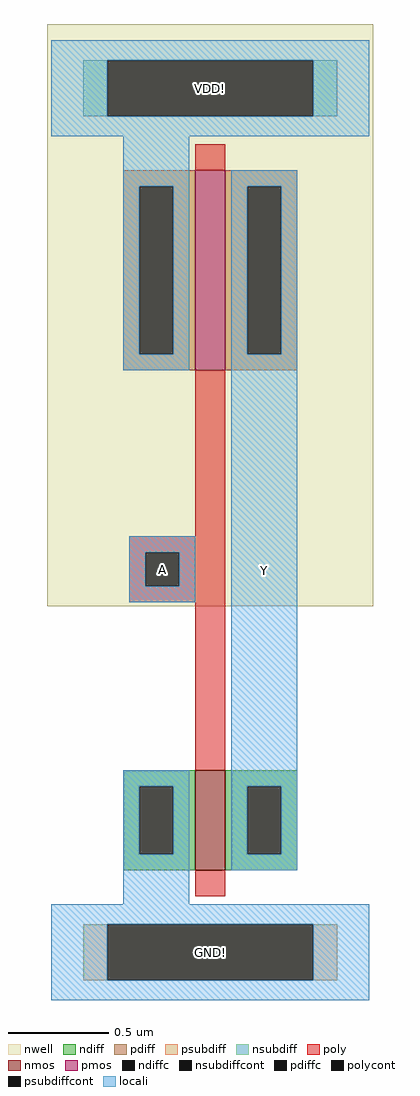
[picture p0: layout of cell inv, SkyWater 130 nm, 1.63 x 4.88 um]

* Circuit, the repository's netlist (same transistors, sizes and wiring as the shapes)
* NGSPICE file created from inv.ext - technology: sky130A

*.subckt inv VDD GND Y A
X0 Y A GND GND sky130_fd_pr__nfet_01v8 ad=1.8e+11p pd=1.72e+06u as=1.8e+11p ps=1.72e+06u w=500000u l=150000u
X1 Y A VDD VDD sky130_fd_pr__pfet_01v8 ad=3.6e+11p pd=2.72e+06u as=3.6e+11p ps=2.72e+06u w=1e+06u l=150000u
*.ends

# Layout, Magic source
magic
tech sky130A
<< nwell >>
rect -42 135 121 426
<< nmos >>
rect 32 3 47 53
<< pmos >>
rect 32 253 47 353
<< ndiff >>
rect -4 45 32 53
rect -4 11 4 45
rect 21 11 32 45
rect -4 3 32 11
rect 47 45 83 53
rect 47 11 58 45
rect 75 11 83 45
rect 47 3 83 11
<< pdiff >>
rect -4 345 32 353
rect -4 261 4 345
rect 21 261 32 345
rect -4 253 32 261
rect 47 345 83 353
rect 47 261 58 345
rect 75 261 83 345
rect 47 253 83 261
<< ndiffc >>
rect 4 11 21 45
rect 58 11 75 45
<< pdiffc >>
rect 4 261 21 345
rect 58 261 75 345
<< psubdiff >>
rect -24 -52 -12 -24
rect 91 -52 103 -24
<< nsubdiff >>
rect -24 380 -12 408
rect 91 380 103 408
<< psubdiffcont >>
rect -12 -52 91 -24
<< nsubdiffcont >>
rect -12 380 91 408
<< poly >>
rect 32 353 47 366
rect 32 170 47 253
rect -1 162 47 170
rect -1 145 7 162
rect 24 145 47 162
rect -1 137 47 145
rect 32 53 47 137
rect 32 -10 47 3
<< polycont >>
rect 7 145 24 162
<< locali >>
rect -40 408 119 418
rect -40 380 -12 408
rect 91 380 119 408
rect -40 370 119 380
rect -4 345 29 370
rect -4 261 4 345
rect 21 261 29 345
rect -4 253 29 261
rect 50 345 83 353
rect 50 261 58 345
rect 75 261 83 345
rect -1 162 32 170
rect -1 145 7 162
rect 24 145 32 162
rect -1 137 32 145
rect -4 45 29 53
rect -4 11 4 45
rect 21 11 29 45
rect -4 -14 29 11
rect 50 45 83 261
rect 50 11 58 45
rect 75 11 83 45
rect 50 3 83 11
rect -40 -24 119 -14
rect -40 -52 -12 -24
rect 91 -52 119 -24
rect -40 -62 119 -52
<< labels >>
flabel locali -40 -62 119 -14 1 FreeSerif 80 0 0 0 GND!
port 1 n
flabel locali 50 53 83 253 1 FreeSerif 80 0 0 0 Y
port 2 n
flabel locali -1 137 32 170 0 FreeSerif 80 0 0 0 A
port 3 nsew
flabel locali -40 370 119 418 0 FreeSerif 80 0 0 0 VDD!
port 0 nsew
<< end >>
